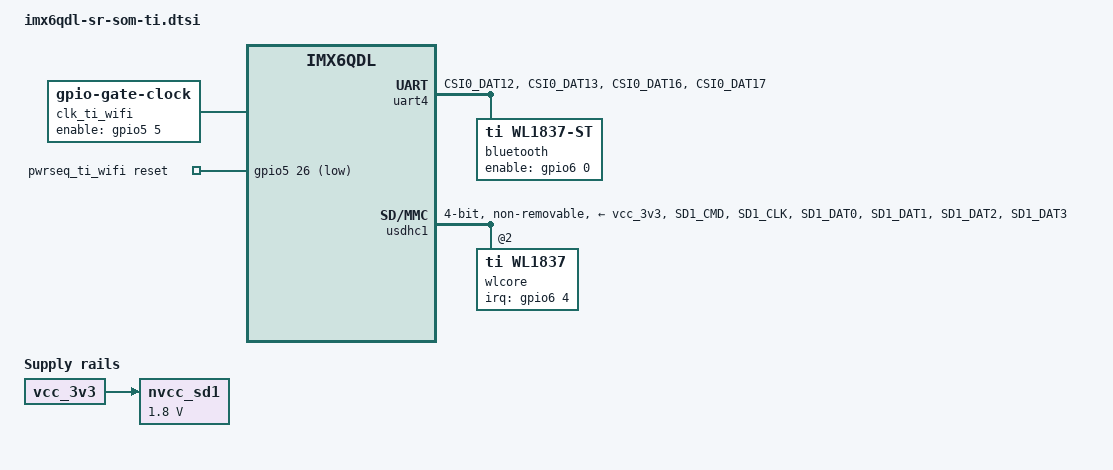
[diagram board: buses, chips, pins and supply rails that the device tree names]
/*
 * Copyright (C) 2013,2014 Russell King
 *
 * This file is dual-licensed: you can use it either under the terms
 * of the GPL or the X11 license, at your option. Note that this dual
 * licensing only applies to this file, and not this project as a
 * whole.
 *
 *  a) This file is free software; you can redistribute it and/or
 *     modify it under the terms of the GNU General Public License
 *     version 2 as published by the Free Software Foundation.
 *
 *     This file is distributed in the hope that it will be useful,
 *     but WITHOUT ANY WARRANTY; without even the implied warranty of
 *     MERCHANTABILITY or FITNESS FOR A PARTICULAR PURPOSE.  See the
 *     GNU General Public License for more details.
 *
 * Or, alternatively,
 *
 *  b) Permission is hereby granted, free of charge, to any person
 *     obtaining a copy of this software and associated documentation
 *     files (the "Software"), to deal in the Software without
 *     restriction, including without limitation the rights to use,
 *     copy, modify, merge, publish, distribute, sublicense, and/or
 *     sell copies of the Software, and to permit persons to whom the
 *     Software is furnished to do so, subject to the following
 *     conditions:
 *
 *     The above copyright notice and this permission notice shall be
 *     included in all copies or substantial portions of the Software.
 *
 *     THE SOFTWARE IS PROVIDED "AS IS", WITHOUT WARRANTY OF ANY KIND,
 *     EXPRESS OR IMPLIED, INCLUDING BUT NOT LIMITED TO THE WARRANTIES
 *     OF MERCHANTABILITY, FITNESS FOR A PARTICULAR PURPOSE AND
 *     NONINFRINGEMENT. IN NO EVENT SHALL THE AUTHORS OR COPYRIGHT
 *     HOLDERS BE LIABLE FOR ANY CLAIM, DAMAGES OR OTHER LIABILITY,
 *     WHETHER IN AN ACTION OF CONTRACT, TORT OR OTHERWISE, ARISING
 *     FROM, OUT OF OR IN CONNECTION WITH THE SOFTWARE OR THE USE OR
 *     OTHER DEALINGS IN THE SOFTWARE.
 */
#include <dt-bindings/gpio/gpio.h>

/ {
	nvcc_sd1: regulator-nvcc-sd1 {
		compatible = "regulator-fixed";
		regulator-always-on;
		regulator-name = "nvcc_sd1";
		regulator-min-microvolt = <1800000>;
		regulator-max-microvolt = <1800000>;
		vin-supply = <&vcc_3v3>;
	};

	clk_ti_wifi: ti-wifi-clock {
		/* This is a hack around the kernel - using "fixed clock"
		 * results in the "pinctrl" properties being ignored, and
		 * the clock not being output.  Instead, use a gated clock
		 * and the unrouted WL_XTAL_PU gpio.
		 */
		compatible = "gpio-gate-clock";
		#clock-cells = <0>;
		clock-frequency = <32768>;
		pinctrl-names = "default";
		pinctrl-0 = <&pinctrl_microsom_ti_clk>;
		enable-gpios = <&gpio5 5 GPIO_ACTIVE_HIGH>;
	};

	pwrseq_ti_wifi: ti-wifi-pwrseq {
		compatible = "mmc-pwrseq-simple";
		pinctrl-names = "default";
		pinctrl-0 = <&pinctrl_microsom_ti_wifi_en>;
		reset-gpios = <&gpio5 26 GPIO_ACTIVE_LOW>;
		post-power-on-delay-ms = <200>;
		clocks = <&clk_ti_wifi>;
		clock-names = "ext_clock";
	};
};

&iomuxc {
	microsom {
		pinctrl_microsom_ti_bt: microsom-ti-bt {
			fsl,pins = <
				/* BT_EN_SOC */
				MX6QDL_PAD_CSI0_DAT14__GPIO6_IO00	0x40013070
			>;
		};

		pinctrl_microsom_ti_clk: microsom-ti-clk {
			fsl,pins = <
				/* EXT_32K */
				MX6QDL_PAD_GPIO_8__XTALOSC_REF_CLK_32K	0x1b0b0
				/* WL_XTAL_PU (unrouted) */
				MX6QDL_PAD_DISP0_DAT11__GPIO5_IO05 0x40013070
			>;
		};

		pinctrl_microsom_ti_wifi_en: microsom-ti-wifi-en {
			fsl,pins = <
				/* WLAN_EN_SOC */
				MX6QDL_PAD_CSI0_DAT8__GPIO5_IO26	0x40013070
			>;
		};

		pinctrl_microsom_ti_wifi_irq: microsom-ti-wifi-irq {
			fsl,pins = <
				/* WLAN_IRQ */
				MX6QDL_PAD_CSI0_DAT18__GPIO6_IO04	0x40013070
			>;
		};

		pinctrl_microsom_uart4: microsom-uart4 {
			fsl,pins = <
				MX6QDL_PAD_CSI0_DAT12__UART4_TX_DATA 0x1b0b1
				MX6QDL_PAD_CSI0_DAT13__UART4_RX_DATA 0x1b0b1
				MX6QDL_PAD_CSI0_DAT16__UART4_RTS_B 0x1b0b1
				MX6QDL_PAD_CSI0_DAT17__UART4_CTS_B 0x1b0b1
			>;
		};

		pinctrl_microsom_usdhc1: microsom-usdhc1 {
			fsl,pins = <
				MX6QDL_PAD_SD1_CMD__SD1_CMD    0x17059
				MX6QDL_PAD_SD1_CLK__SD1_CLK    0x10059
				MX6QDL_PAD_SD1_DAT0__SD1_DATA0 0x17059
				MX6QDL_PAD_SD1_DAT1__SD1_DATA1 0x17059
				MX6QDL_PAD_SD1_DAT2__SD1_DATA2 0x17059
				MX6QDL_PAD_SD1_DAT3__SD1_DATA3 0x17059
			>;
		};
	};
};

/* UART4 - Connected to optional TI Wi-Fi/BT/FM */
&uart4 {
	pinctrl-names = "default";
	pinctrl-0 = <&pinctrl_microsom_uart4>;
	uart-has-rtscts;
	status = "okay";

	bluetooth {
		compatible = "ti,wl1837-st";
		clocks = <&clk_ti_wifi>;
		clock-names = "ext_clock";
		enable-gpios = <&gpio6 0 GPIO_ACTIVE_HIGH>;
		pinctrl-names = "default";
		pinctrl-0 = <&pinctrl_microsom_ti_bt>;
	};
};

/* USDHC1 - Connected to optional TI Wi-Fi/BT/FM */
&usdhc1 {
	pinctrl-names = "default";
	pinctrl-0 = <&pinctrl_microsom_usdhc1>;
	bus-width = <4>;
	keep-power-in-suspend;
	mmc-pwrseq = <&pwrseq_ti_wifi>;
	non-removable;
	vmmc-supply = <&vcc_3v3>;
	/* vqmmc-supply = <&nvcc_sd1>; - MMC layer doesn't like it! */
	status = "okay";
	#address-cells = <1>;
	#size-cells = <0>;

	wlcore@2 {
		compatible = "ti,wl1837";
		reg = <2>;
		interrupts-extended = <&gpio6 4 IRQ_TYPE_LEVEL_HIGH>;
		pinctrl-names = "default";
		pinctrl-0 = <&pinctrl_microsom_ti_wifi_irq>;
	};
};
